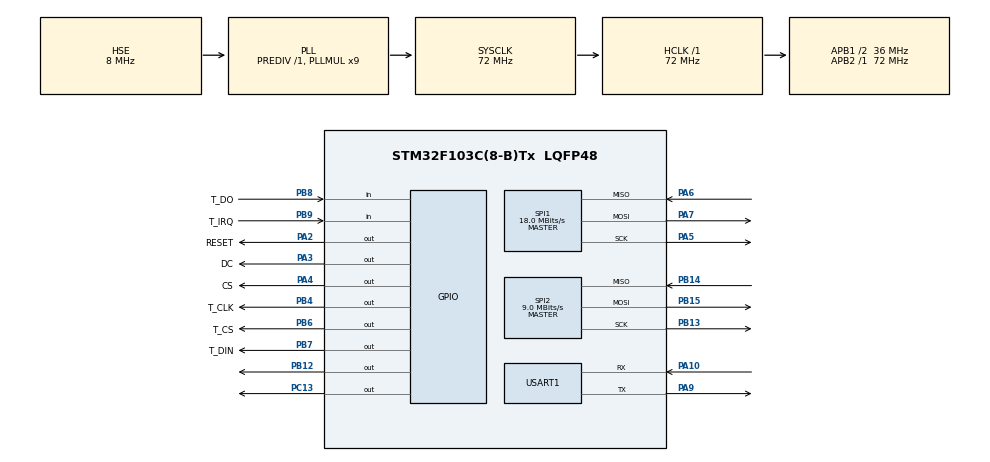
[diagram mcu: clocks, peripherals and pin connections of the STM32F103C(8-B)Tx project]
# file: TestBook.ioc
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FREERTOS.Tasks01=defaultTask,0,128,StartDefaultTask,Default,NULL,Dynamic,NULL,NULL;myTask02,-3,128,StartTask02,Default,NULL,Dynamic,NULL,NULL;myTask03,-3,128,StartTask03,Default,NULL,Dynamic,NULL,NULL
Mcu.Family=STM32F1
Mcu.Name=STM32F103C(8-B)Tx
Mcu.Package=LQFP48
NVIC.PriorityGroup=NVIC_PRIORITYGROUP_4
NVIC.SPI2_IRQn=true\:5\:0\:false\:false\:true\:true\:true\:true
NVIC.USART1_IRQn=true\:5\:0\:false\:false\:true\:true\:true\:true
PA10.Mode=Asynchronous
PA10.Signal=USART1_RX
PA13.Mode=Serial_Wire
PA13.Signal=SYS_JTMS-SWDIO
PA14.Mode=Serial_Wire
PA14.Signal=SYS_JTCK-SWCLK
PA2.GPIO_Label=RESET
PA2.GPIO_Speed=GPIO_SPEED_FREQ_HIGH
PA2.Signal=GPIO_Output
PA3.GPIO_Label=DC
PA3.GPIO_Speed=GPIO_SPEED_FREQ_HIGH
PA3.Signal=GPIO_Output
PA4.GPIO_Label=CS
PA4.GPIO_Speed=GPIO_SPEED_FREQ_HIGH
PA4.Signal=GPIO_Output
PA5.Mode=Full_Duplex_Master
PA5.Signal=SPI1_SCK
PA6.Mode=Full_Duplex_Master
PA6.Signal=SPI1_MISO
PA7.Mode=Full_Duplex_Master
PA7.Signal=SPI1_MOSI
PA9.Mode=Asynchronous
PA9.Signal=USART1_TX
PB12.Signal=GPIO_Output
PB13.Mode=Full_Duplex_Master
PB13.Signal=SPI2_SCK
PB14.Mode=Full_Duplex_Master
PB14.Signal=SPI2_MISO
PB15.Mode=Full_Duplex_Master
PB15.Signal=SPI2_MOSI
PB4.GPIO_Label=T_CLK
PB4.GPIO_Speed=GPIO_SPEED_FREQ_HIGH
PB4.Signal=GPIO_Output
PB6.GPIO_Label=T_CS
PB6.GPIO_Speed=GPIO_SPEED_FREQ_HIGH
PB6.Signal=GPIO_Output
PB7.GPIO_Label=T_DIN
PB7.GPIO_Speed=GPIO_SPEED_FREQ_HIGH
PB7.Signal=GPIO_Output
PB8.GPIO_Label=T_DO
PB8.Signal=GPIO_Input
PB9.GPIO_Label=T_IRQ
PB9.Signal=GPIO_Input
PC13-TAMPER-RTC.Signal=GPIO_Output
PD0-OSC_IN.Mode=HSE-External-Oscillator
PD0-OSC_IN.Signal=RCC_OSC_IN
PD1-OSC_OUT.Mode=HSE-External-Oscillator
PD1-OSC_OUT.Signal=RCC_OSC_OUT
ProjectManager.HeapSize=0x200
ProjectManager.StackSize=0x400
ProjectManager.TargetToolchain=MDK-ARM V5
RCC.AHBFreq_Value=72000000
RCC.APB1CLKDivider=RCC_HCLK_DIV2
RCC.APB1Freq_Value=36000000
RCC.APB1TimFreq_Value=72000000
RCC.APB2Freq_Value=72000000
RCC.APB2TimFreq_Value=72000000
RCC.HCLKFreq_Value=72000000
RCC.PLLMUL=RCC_PLL_MUL9
RCC.PLLSourceVirtual=RCC_PLLSOURCE_HSE
RCC.SYSCLKFreq_VALUE=72000000
RCC.SYSCLKSource=RCC_SYSCLKSOURCE_PLLCLK
RCC.USBFreq_Value=72000000
SPI1.BaudRatePrescaler=SPI_BAUDRATEPRESCALER_4
SPI1.CalculateBaudRate=18.0 MBits/s
SPI1.Direction=SPI_DIRECTION_2LINES
SPI1.Mode=SPI_MODE_MASTER
SPI1.VirtualType=VM_MASTER
SPI2.BaudRatePrescaler=SPI_BAUDRATEPRESCALER_4
SPI2.CalculateBaudRate=9.0 MBits/s
SPI2.Direction=SPI_DIRECTION_2LINES
SPI2.Mode=SPI_MODE_MASTER
SPI2.VirtualType=VM_MASTER
USART1.VirtualMode=VM_ASYNC
VP_FREERTOS_VS_CMSIS_V1.Mode=CMSIS_V1
board=custom

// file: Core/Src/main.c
/* USER CODE BEGIN Header */
/**
  ******************************************************************************
  * @file           : main.c
  * @brief          : Main program body
  ******************************************************************************
  * @attention
  *
  * <h2><center>&copy; Copyright (c) 2020 STMicroelectronics.
  * All rights reserved.</center></h2>
  *
  * This software component is licensed by ST under BSD 3-Clause license,
  * the "License"; You may not use this file except in compliance with the
  * License. You may obtain a copy of the License at:
  *                        opensource.org/licenses/BSD-3-Clause
  *
  ******************************************************************************
  */
/* USER CODE END Header */
#include "main.h"
#include "cmsis_os.h"

/* USER CODE BEGIN Includes */
#include "ILI9341_Driver.h"
#include "Touch.h"
#include "display.h"
#include "string.h"
#include "park_icons.h"
#include "rc522.h"

/* USER CODE END Includes */

/* USER CODE BEGIN PTD */
int state = 0 ;
uint16_t xtemp, ytemp;
char *select = {0};
int sel;
int sel_tmp;
int sel_chuyen;
int sel15,sel14,sel13,sel12,sel11=0;
int sel25,sel24,sel23,sel22,sel21=0;
int sel35,sel34,sel33,sel32,sel31=0;
int sel45,sel44,sel43,sel42,sel41=0;

/* USER CODE END PTD */

/* USER CODE BEGIN PD */

uint16_t xtemp, ytemp;

uint8_t 	k;
uint8_t 	i;
uint8_t 	j;
uint8_t 	b;
uint8_t 	q;
uint8_t 	en;
uint8_t		lastID[4];
uint8_t	 txBuffer[16] = "";
uint8_t	str[MFRC522_MAX_LEN];
uint8_t 	retstr[10];
//uint8_t 	rxBuffer[14792];
uint8_t 	rxBuffer[14792]; // max 14894
//uint8_t 	rxBuffer1[30000];
//unsigned char 	rxBuffer1[12800];

//int tt=0;
//int m =0;
//int n =0;
//int a;
//uint8_t Rx_data;
char *str2 = {0};
//unsigned char gImage_PicTest[57600];
/* USER CODE END PD */

SPI_HandleTypeDef hspi1;
SPI_HandleTypeDef hspi2;

UART_HandleTypeDef huart1;

osThreadId defaultTaskHandle;
osThreadId myTask02Handle;
osThreadId myTask03Handle;

void SystemClock_Config(void);
static void MX_GPIO_Init(void);
static void MX_SPI1_Init(void);
static void MX_SPI2_Init(void);
static void MX_USART1_UART_Init(void);
void StartDefaultTask(void const * argument);
void StartTask02(void const * argument);
void StartTask03(void const * argument);

/* USER CODE BEGIN PFP */
void HAL_UART_RxCpltCallback(UART_HandleTypeDef *huart)
{
	HAL_UART_Receive_IT(&huart1,(uint8_t*)rxBuffer, 14792);
//	a = (char)rxBuffer[14791];
//	HAL_GPIO_WritePin(GPIOC,GPIO_PIN_13,GPIO_PIN_SET);
	if (rxBuffer[0] == 2 && rxBuffer[1] == 2 && rxBuffer[2] == 2 && rxBuffer[3] == 2 && rxBuffer[4] == 2)
	{
		// cho phep cam ung
		state=2;
	}else if (rxBuffer[0] == 0 && rxBuffer[1] == 0 && rxBuffer[2] == 0 && rxBuffer[3] == 0 && rxBuffer[4] == 0){
		// tat cam ung
		state=0;
	}else if (rxBuffer[0] == 3 && rxBuffer[1] == 3 && rxBuffer[2] == 3 && rxBuffer[3] == 3 && rxBuffer[4] == 3){
		// kiem tra va hien cho da co xe
		sel11 = rxBuffer[5];
		sel12 = rxBuffer[6];
		sel13 = rxBuffer[7];
		sel14 = rxBuffer[8];
		sel15 = rxBuffer[9];

		sel21 = rxBuffer[10];
		sel22 = rxBuffer[11];
		sel23 = rxBuffer[12];
		sel24 = rxBuffer[13];
		sel25 = rxBuffer[14];

		sel31 = rxBuffer[15];
		sel32 = rxBuffer[16];
		sel33 = rxBuffer[17];
		sel34 = rxBuffer[18];
		sel35 = rxBuffer[19];

		sel41 = rxBuffer[20];
		sel42 = rxBuffer[21];
		sel43 = rxBuffer[22];
		sel44 = rxBuffer[23];
		sel45 = rxBuffer[24];

		state=3;

	}else{
		// cho hien hinh mat
		state=1;
	}
}
/* USER CODE END PFP */

/* USER CODE BEGIN 0 */
void HienThiCho(){

			if(sel15==15){
				Display_Round_Icon_20x20(park_icon_20x20, 235, 55, 20);
			} else	Display_Round_Icon_20x20(unpark1_icon_20x20, 235, 55, 20);

			if(sel14==14){
				Display_Round_Icon_20x20(park_icon_20x20, 185, 55, 20);
			} else	Display_Round_Icon_20x20(unpark1_icon_20x20, 185, 55, 20);

			if(sel13==13){
				Display_Round_Icon_20x20(park_icon_20x20, 135, 55, 20);
			} else Display_Round_Icon_20x20(unpark1_icon_20x20, 185, 55, 20);

			if(sel12==12){
				Display_Round_Icon_20x20(park_icon_20x20, 85, 55, 20);
			} else Display_Round_Icon_20x20(unpark1_icon_20x20, 85, 55, 20);

			if(sel11==11){
				Display_Round_Icon_20x20(park_icon_20x20, 35, 55, 20);
			} else Display_Round_Icon_20x20(unpark1_icon_20x20, 85, 55, 20);

		/*#######################################################################*/
			if(sel25==25){
				Display_Round_Icon_20x20(park_icon_20x20, 235, 105, 20);
			} else Display_Round_Icon_20x20(unpark1_icon_20x20, 235, 105, 20);

			if(sel24==24){
				Display_Round_Icon_20x20(park_icon_20x20, 185, 105, 20);
			} else Display_Round_Icon_20x20(unpark1_icon_20x20, 185, 105, 20);

			if(sel23==23){
				Display_Round_Icon_20x20(park_icon_20x20, 135, 105, 20);
			} else Display_Round_Icon_20x20(unpark1_icon_20x20, 135, 105, 20);

			if(sel22==22){
				Display_Round_Icon_20x20(park_icon_20x20, 85, 105, 20);
			} else Display_Round_Icon_20x20(unpark1_icon_20x20, 85, 105, 20);

			if(sel21==21){
				Display_Round_Icon_20x20(park_icon_20x20, 35, 105, 20);
			} else Display_Round_Icon_20x20(unpark1_icon_20x20, 35, 105, 20);

		/*################################################################*/
			if(sel35==35){
				Display_Round_Icon_20x20(park_icon_20x20, 235, 155, 20);
			} else Display_Round_Icon_20x20(unpark1_icon_20x20, 235, 155, 20);

			if(sel34==34){
				Display_Round_Icon_20x20(park_icon_20x20, 185, 155, 20);
			} else Display_Round_Icon_20x20(unpark1_icon_20x20, 185, 155, 20);

			if(sel33==33){
				Display_Round_Icon_20x20(park_icon_20x20, 135, 155, 20);
			} else Display_Round_Icon_20x20(unpark1_icon_20x20, 135, 155, 20);

			if(sel32==32){
				Display_Round_Icon_20x20(park_icon_20x20, 85, 155, 20);
			} else Display_Round_Icon_20x20(unpark1_icon_20x20, 85, 155, 20);

			if(sel31==31){
				Display_Round_Icon_20x20(park_icon_20x20, 35, 155, 20);
			} else Display_Round_Icon_20x20(unpark1_icon_20x20, 35, 155, 20);

		/*################################################################*/
			if(sel45==45){
				Display_Round_Icon_20x20(park_icon_20x20, 235, 205, 20);
			} else Display_Round_Icon_20x20(unpark1_icon_20x20, 235, 205, 20);

			if(sel44==44){
				Display_Round_Icon_20x20(park_icon_20x20, 185, 205, 20);
			} else Display_Round_Icon_20x20(unpark1_icon_20x20, 185, 205, 20);

			if(sel43==43){
				Display_Round_Icon_20x20(park_icon_20x20, 135, 205, 20);
			} else Display_Round_Icon_20x20(unpark1_icon_20x20, 135, 205, 20);

			if(sel42==42){
				Display_Round_Icon_20x20(park_icon_20x20, 85, 205, 20);
			} else Display_Round_Icon_20x20(unpark1_icon_20x20, 85, 205, 20);

			if(sel41==41){
				Display_Round_Icon_20x20(park_icon_20x20, 35, 205, 20);
			} else Display_Round_Icon_20x20(unpark1_icon_20x20, 35, 205, 20);
}
void ChonCho(int sel){

	switch(sel){
		case 15: str2 = "15";HAL_UART_Transmit(&huart1, (uint8_t*)str2, 2, 100);;break;
		case 14: str2 = "14";HAL_UART_Transmit(&huart1, (uint8_t*)str2, 2, 100);;break;
		case 13: str2 = "13";HAL_UART_Transmit(&huart1, (uint8_t*)str2, 2, 100);;break;
		case 12: str2 = "12";HAL_UART_Transmit(&huart1, (uint8_t*)str2, 2, 100);;break;
		case 11: str2 = "11";HAL_UART_Transmit(&huart1, (uint8_t*)str2, 2, 100);;break;

		case 25: str2 = "25";HAL_UART_Transmit(&huart1, (uint8_t*)str2, 2, 100);;break;
		case 24: str2 = "24";HAL_UART_Transmit(&huart1, (uint8_t*)str2, 2, 100);;break;
		case 23: str2 = "23";HAL_UART_Transmit(&huart1, (uint8_t*)str2, 2, 100);;break;
		case 22: str2 = "22";HAL_UART_Transmit(&huart1, (uint8_t*)str2, 2, 100);;break;
		case 21: str2 = "21";HAL_UART_Transmit(&huart1, (uint8_t*)str2, 2, 100);;break;

		case 35: str2 = "35";HAL_UART_Transmit(&huart1, (uint8_t*)str2, 2, 100);;break;
		case 34: str2 = "34";HAL_UART_Transmit(&huart1, (uint8_t*)str2, 2, 100);;break;
		case 33: str2 = "33";HAL_UART_Transmit(&huart1, (uint8_t*)str2, 2, 100);;break;
		case 32: str2 = "32";HAL_UART_Transmit(&huart1, (uint8_t*)str2, 2, 100);;break;
		case 31: str2 = "31";HAL_UART_Transmit(&huart1, (uint8_t*)str2, 2, 100);;break;

		case 45: str2 = "45";HAL_UART_Transmit(&huart1, (uint8_t*)str2, 2, 100);;break;
		case 44: str2 = "44";HAL_UART_Transmit(&huart1, (uint8_t*)str2, 2, 100);;break;
		case 43: str2 = "43";HAL_UART_Transmit(&huart1, (uint8_t*)str2, 2, 100);;break;
		case 42: str2 = "42";HAL_UART_Transmit(&huart1, (uint8_t*)str2, 2, 100);;break;
		case 41: str2 = "41";HAL_UART_Transmit(&huart1, (uint8_t*)str2, 2, 100);;break;
	}
}

void char_to_hex(uint8_t data) {
	uint8_t digits[] = {'0','1','2','3','4','5','6','7','8','9','A','B','C','D','E','F'};

	if (data < 16) {
		retstr[0] = '0';
		retstr[1] = digits[data];
	} else {
		retstr[0] = digits[(data & 0xF0)>>4];
		retstr[1] = digits[(data & 0x0F)];
	}
}
/* USER CODE END 0 */

int main(void)
{

  /* MCU Configuration--------------------------------------------------------*/

  /* Reset of all peripherals, Initializes the Flash interface and the Systick. */
  HAL_Init();

  /* Configure the system clock */
  SystemClock_Config();

  /* Initialize all configured peripherals */
  MX_GPIO_Init();
  MX_SPI1_Init();
  MX_SPI2_Init();
  MX_USART1_UART_Init();
  /* USER CODE BEGIN 2 */

	ILI9341_Init();
  ILI9341_Set_Rotation(1);
	ILI9341_Fill_Screen(BLACK);
	MFRC522_Init();

//	Display_Color_Picture();
//	ILI9341_Draw_String(50, 205, BLACK, WHITE, "Xe vao!", 2);
//	Display_Color_Picture1();
//	ILI9341_Draw_String(220, 205, BLACK, WHITE, "Xe ra!", 2);

	//ILI9341_Fill_Screen(BLACK);
  //Display_Menu();
	//ILI9341_Set_Rotation(3);
	//Display_Color_Picture();
	//Display_Color_Picture1();
	//ILI9341_Set_Rotation(3);
	ILI9341_Fill_Screen1(BLACK);
	Display_Menu();

  TP_Init();
  /* USER CODE END 2 */

  /* Create the thread(s) */
  /* definition and creation of defaultTask */
  osThreadDef(defaultTask, StartDefaultTask, osPriorityNormal, 0, 128);
  defaultTaskHandle = osThreadCreate(osThread(defaultTask), NULL);

  /* definition and creation of myTask02 */
  osThreadDef(myTask02, StartTask02, osPriorityIdle, 0, 128);
  myTask02Handle = osThreadCreate(osThread(myTask02), NULL);

  /* definition and creation of myTask03 */
  osThreadDef(myTask03, StartTask03, osPriorityIdle, 0, 128);
  myTask03Handle = osThreadCreate(osThread(myTask03), NULL);

  /* Start scheduler */
  osKernelStart();

  /* We should never get here as control is now taken by the scheduler */
  /* Infinite loop */
  while (1)
  {

    /* USER CODE BEGIN 3 */
//		if(state==1){
//			ILI9341_Fill_Screen1(BLACK);
//			Display_Color_Picture();
//			HAL_Delay(500);
//			ILI9341_Fill_Screen1(BLACK);
//			state=0;
//		}

  }
  /* USER CODE END 3 */
}

void SystemClock_Config(void)
{
  RCC_OscInitTypeDef RCC_OscInitStruct = {0};
  RCC_ClkInitTypeDef RCC_ClkInitStruct = {0};

  /** Initializes the RCC Oscillators according to the specified parameters
  * in the RCC_OscInitTypeDef structure.
  */
  RCC_OscInitStruct.OscillatorType = RCC_OSCILLATORTYPE_HSE;
  RCC_OscInitStruct.HSEState = RCC_HSE_ON;
  RCC_OscInitStruct.HSEPredivValue = RCC_HSE_PREDIV_DIV1;
  RCC_OscInitStruct.HSIState = RCC_HSI_ON;
  RCC_OscInitStruct.PLL.PLLState = RCC_PLL_ON;
  RCC_OscInitStruct.PLL.PLLSource = RCC_PLLSOURCE_HSE;
  RCC_OscInitStruct.PLL.PLLMUL = RCC_PLL_MUL9;
  if (HAL_RCC_OscConfig(&RCC_OscInitStruct) != HAL_OK)
  {
    Error_Handler();
  }
  /** Initializes the CPU, AHB and APB buses clocks
  */
  RCC_ClkInitStruct.ClockType = RCC_CLOCKTYPE_HCLK|RCC_CLOCKTYPE_SYSCLK
                              |RCC_CLOCKTYPE_PCLK1|RCC_CLOCKTYPE_PCLK2;
  RCC_ClkInitStruct.SYSCLKSource = RCC_SYSCLKSOURCE_PLLCLK;
  RCC_ClkInitStruct.AHBCLKDivider = RCC_SYSCLK_DIV1;
  RCC_ClkInitStruct.APB1CLKDivider = RCC_HCLK_DIV2;
  RCC_ClkInitStruct.APB2CLKDivider = RCC_HCLK_DIV1;

  if (HAL_RCC_ClockConfig(&RCC_ClkInitStruct, FLASH_LATENCY_2) != HAL_OK)
  {
    Error_Handler();
  }
}

static void MX_SPI1_Init(void)
{

  /* SPI1 parameter configuration*/
  hspi1.Instance = SPI1;
  hspi1.Init.Mode = SPI_MODE_MASTER;
  hspi1.Init.Direction = SPI_DIRECTION_2LINES;
  hspi1.Init.DataSize = SPI_DATASIZE_8BIT;
  hspi1.Init.CLKPolarity = SPI_POLARITY_LOW;
  hspi1.Init.CLKPhase = SPI_PHASE_1EDGE;
  hspi1.Init.NSS = SPI_NSS_SOFT;
  hspi1.Init.BaudRatePrescaler = SPI_BAUDRATEPRESCALER_4;
  hspi1.Init.FirstBit = SPI_FIRSTBIT_MSB;
  hspi1.Init.TIMode = SPI_TIMODE_DISABLE;
  hspi1.Init.CRCCalculation = SPI_CRCCALCULATION_DISABLE;
  hspi1.Init.CRCPolynomial = 10;
  if (HAL_SPI_Init(&hspi1) != HAL_OK)
  {
    Error_Handler();
  }

}

static void MX_SPI2_Init(void)
{

  /* SPI2 parameter configuration*/
  hspi2.Instance = SPI2;
  hspi2.Init.Mode = SPI_MODE_MASTER;
  hspi2.Init.Direction = SPI_DIRECTION_2LINES;
  hspi2.Init.DataSize = SPI_DATASIZE_8BIT;
  hspi2.Init.CLKPolarity = SPI_POLARITY_LOW;
  hspi2.Init.CLKPhase = SPI_PHASE_1EDGE;
  hspi2.Init.NSS = SPI_NSS_SOFT;
  hspi2.Init.BaudRatePrescaler = SPI_BAUDRATEPRESCALER_4;
  hspi2.Init.FirstBit = SPI_FIRSTBIT_MSB;
  hspi2.Init.TIMode = SPI_TIMODE_DISABLE;
  hspi2.Init.CRCCalculation = SPI_CRCCALCULATION_DISABLE;
  hspi2.Init.CRCPolynomial = 10;
  if (HAL_SPI_Init(&hspi2) != HAL_OK)
  {
    Error_Handler();
  }

}

static void MX_USART1_UART_Init(void)
{

  huart1.Instance = USART1;
  huart1.Init.BaudRate = 115200;
  huart1.Init.WordLength = UART_WORDLENGTH_8B;
  huart1.Init.StopBits = UART_STOPBITS_1;
  huart1.Init.Parity = UART_PARITY_NONE;
  huart1.Init.Mode = UART_MODE_TX_RX;
  huart1.Init.HwFlowCtl = UART_HWCONTROL_NONE;
  huart1.Init.OverSampling = UART_OVERSAMPLING_16;
  if (HAL_UART_Init(&huart1) != HAL_OK)
  {
    Error_Handler();
  }

}

static void MX_GPIO_Init(void)
{
  GPIO_InitTypeDef GPIO_InitStruct = {0};

  /* GPIO Ports Clock Enable */
  __HAL_RCC_GPIOC_CLK_ENABLE();
  __HAL_RCC_GPIOD_CLK_ENABLE();
  __HAL_RCC_GPIOA_CLK_ENABLE();
  __HAL_RCC_GPIOB_CLK_ENABLE();

  /*Configure GPIO pin Output Level */
  HAL_GPIO_WritePin(GPIOC, GPIO_PIN_13, GPIO_PIN_RESET);

  /*Configure GPIO pin Output Level */
  HAL_GPIO_WritePin(GPIOA, RESET_Pin|DC_Pin|CS_Pin, GPIO_PIN_RESET);

  /*Configure GPIO pin Output Level */
  HAL_GPIO_WritePin(GPIOB, GPIO_PIN_12|T_CLK_Pin|T_CS_Pin|T_DIN_Pin, GPIO_PIN_RESET);

  /*Configure GPIO pin : PC13 */
  GPIO_InitStruct.Pin = GPIO_PIN_13;
  GPIO_InitStruct.Mode = GPIO_MODE_OUTPUT_PP;
  GPIO_InitStruct.Pull = GPIO_NOPULL;
  GPIO_InitStruct.Speed = GPIO_SPEED_FREQ_LOW;
  HAL_GPIO_Init(GPIOC, &GPIO_InitStruct);

  /*Configure GPIO pins : RESET_Pin DC_Pin CS_Pin */
  GPIO_InitStruct.Pin = RESET_Pin|DC_Pin|CS_Pin;
  GPIO_InitStruct.Mode = GPIO_MODE_OUTPUT_PP;
  GPIO_InitStruct.Pull = GPIO_NOPULL;
  GPIO_InitStruct.Speed = GPIO_SPEED_FREQ_HIGH;
  HAL_GPIO_Init(GPIOA, &GPIO_InitStruct);

  /*Configure GPIO pin : PB12 */
  GPIO_InitStruct.Pin = GPIO_PIN_12;
  GPIO_InitStruct.Mode = GPIO_MODE_OUTPUT_PP;
  GPIO_InitStruct.Pull = GPIO_NOPULL;
  GPIO_InitStruct.Speed = GPIO_SPEED_FREQ_LOW;
  HAL_GPIO_Init(GPIOB, &GPIO_InitStruct);

  /*Configure GPIO pins : T_CLK_Pin T_CS_Pin T_DIN_Pin */
  GPIO_InitStruct.Pin = T_CLK_Pin|T_CS_Pin|T_DIN_Pin;
  GPIO_InitStruct.Mode = GPIO_MODE_OUTPUT_PP;
  GPIO_InitStruct.Pull = GPIO_NOPULL;
  GPIO_InitStruct.Speed = GPIO_SPEED_FREQ_HIGH;
  HAL_GPIO_Init(GPIOB, &GPIO_InitStruct);

  /*Configure GPIO pins : T_DO_Pin T_IRQ_Pin */
  GPIO_InitStruct.Pin = T_DO_Pin|T_IRQ_Pin;
  GPIO_InitStruct.Mode = GPIO_MODE_INPUT;
  GPIO_InitStruct.Pull = GPIO_NOPULL;
  HAL_GPIO_Init(GPIOB, &GPIO_InitStruct);

}

void StartDefaultTask(void const * argument)
{
  /* USER CODE BEGIN 5 */
  /* Infinite loop */
	//HAL_UART_Receive_IT(&huart1,(uint8_t*)rxBuffer, 1);
  for(;;)
  {
		if(state == 2){

			tp_dev.scan(0);
			if(tp_dev.sta & TP_PRES_DOWN)
			{
				xtemp = TP_Read_XOY(0xD0);
				ytemp = TP_Read_XOY(0x90);

				//Sau khi chon dung' thi se~ gui uart den python de chup, tu python se gui anh ve`
				if(xtemp > 700 && xtemp < 1400 && ytemp > 2600 && ytemp < 3100) {
					Display_Round_Icon_20x20(park_icon_20x20, 235, 55, 20);
					sel=15;
					ChonCho(sel);
				}
				if(xtemp > 700 && xtemp < 1400 && ytemp > 2000 && ytemp < 2500) {
					Display_Round_Icon_20x20(park_icon_20x20, 185, 55, 20);
					sel=14;
					ChonCho(sel);
				}
				if(xtemp > 700 && xtemp < 1400 && ytemp > 1400 && ytemp < 1900) {
					Display_Round_Icon_20x20(park_icon_20x20, 135, 55, 20);
					sel=13;
					ChonCho(sel);
				}
				if(xtemp > 700 && xtemp < 1400 && ytemp > 800 && ytemp < 1300) {
					Display_Round_Icon_20x20(park_icon_20x20, 85, 55, 20);
					sel=12;
					ChonCho(sel);
				}
				if(xtemp > 700 && xtemp < 1400 && ytemp > 200 && ytemp < 700) {
					Display_Round_Icon_20x20(park_icon_20x20, 35, 55, 20);
					sel=11;
					ChonCho(sel);
				}
	/*################################################################################*/

				if(xtemp > 1500 && xtemp < 2200 && ytemp > 2600 && ytemp < 3100) {
					Display_Round_Icon_20x20(park_icon_20x20, 235, 105, 20);
					sel=25;
					ChonCho(sel);
				}
				if(xtemp > 1500 && xtemp < 2200 && ytemp > 2000 && ytemp < 2500) {
					Display_Round_Icon_20x20(park_icon_20x20, 185, 105, 20);
					sel=24;
					ChonCho(sel);
				}
				if(xtemp > 1500 && xtemp < 2200 && ytemp > 1400 && ytemp < 1900) {
					Display_Round_Icon_20x20(park_icon_20x20, 135, 105, 20);
					sel=23;
					ChonCho(sel);
				}
				if(xtemp > 1500 && xtemp < 2200 && ytemp > 800 && ytemp < 1300) {
					Display_Round_Icon_20x20(park_icon_20x20, 85, 105, 20);
					sel=22;
					ChonCho(sel);
				}
				if(xtemp > 1500 && xtemp < 2200 && ytemp > 200 && ytemp < 700) {
					Display_Round_Icon_20x20(park_icon_20x20, 35, 105, 20);
					sel=21;
					ChonCho(sel);
				}
	/*################################################################################*/

				if(xtemp > 2300 && xtemp < 3000 && ytemp > 2600 && ytemp < 3100) {
					Display_Round_Icon_20x20(park_icon_20x20, 235, 155, 20);
					sel=35;
					ChonCho(sel);
				}
				if(xtemp > 2300 && xtemp < 3000 && ytemp > 2000 && ytemp < 2500) {
					Display_Round_Icon_20x20(park_icon_20x20, 185, 155, 20);
					sel=34;
					ChonCho(sel);
				}
				if(xtemp > 2300 && xtemp < 3000 && ytemp > 1400 && ytemp < 1900) {
					Display_Round_Icon_20x20(park_icon_20x20, 135, 155, 20);
					sel=33;
					ChonCho(sel);
				}
				if(xtemp > 2300 && xtemp < 3000 && ytemp > 800 && ytemp < 1300) {
					Display_Round_Icon_20x20(park_icon_20x20, 85, 155, 20);
					sel=32;
					ChonCho(sel);
				}
				if(xtemp > 2300 && xtemp < 3000 && ytemp > 200 && ytemp < 700) {
					Display_Round_Icon_20x20(park_icon_20x20, 35, 155, 20);
					sel=31;
					ChonCho(sel);
				}
	/*################################################################################*/

				if(xtemp > 3100 && xtemp < 3800 && ytemp > 2600 && ytemp < 3100) {
					Display_Round_Icon_20x20(park_icon_20x20, 235, 205, 20);
					sel=45;
					ChonCho(sel);
				}
				if(xtemp > 3100 && xtemp < 3800 && ytemp > 2000 && ytemp < 2500) {
					Display_Round_Icon_20x20(park_icon_20x20, 185, 205, 20);
					sel=44;
					ChonCho(sel);
				}
				if(xtemp > 3100 && xtemp < 3800 && ytemp > 1400 && ytemp < 1900) {
					Display_Round_Icon_20x20(park_icon_20x20, 135, 205, 20);
					sel=43;
					ChonCho(sel);

				}
				if(xtemp > 3100 && xtemp < 3800 && ytemp > 800 && ytemp < 1300) {
					Display_Round_Icon_20x20(park_icon_20x20, 85, 205, 20);
					sel=42;
					ChonCho(sel);
				}
				if(xtemp > 3100 && xtemp < 3800 && ytemp > 200 && ytemp < 700) {
					Display_Round_Icon_20x20(park_icon_20x20, 35, 205, 20);
					sel=41;
					ChonCho(sel);
				}
			}
		}

		if(state==1){
			ILI9341_Fill_Screen1(BLACK);
			//Display_Color_Picture();
			for (uint16_t i = 0; i < 86; i++)
			{
				for (uint16_t j = 0; j < 86; j++)
				{
					ILI9341_Draw_Double_Pixel(j+117, i+77, rxBuffer[(172 * i) + j * 2], rxBuffer[(172 * i) + j * 2 + 1]);
				}
			}

			osDelay(1000);
			ILI9341_Fill_Screen1(BLACK);
			Display_Menu();
			HienThiCho();
		}

		if(state==3){
//			ILI9341_Fill_Screen1(BLACK);
//			Display_Menu();
			HienThiCho();
		/*################################################################*/
			//state=0;
		}

		if(state==0){
//			ILI9341_Fill_Screen1(BLACK);
//			Display_Menu();

		/*################################################################*/
			//state=0;
		}

    osDelay(1);
  }
  /* USER CODE END 5 */
}

void StartTask02(void const * argument)
{
  /* USER CODE BEGIN StartTask02 */
	//int iii;
	HAL_UART_Receive_IT(&huart1,(uint8_t*)rxBuffer, 14792);
	HAL_GPIO_WritePin(GPIOC,GPIO_PIN_13,GPIO_PIN_SET);
  /* Infinite loop */
  for(;;)
  {
//		i++;
//		if(tt==1){
//			__HAL_TIM_SetCompare(&htim2, TIM_CHANNEL_1, 250);
//			HAL_GPIO_WritePin(GPIOC,GPIO_PIN_13,GPIO_PIN_RESET);
//			osDelay(5000);
//			tt=0;
//		}
//		else{
//			HAL_GPIO_WritePin(GPIOC,GPIO_PIN_13,GPIO_PIN_SET);
//			__HAL_TIM_SetCompare(&htim2, TIM_CHANNEL_1, 650	);
//		}
		if (!MFRC522_Request(PICC_REQIDL, str))
		{
			if (!MFRC522_Anticoll(str))
			{
			//HAL_ResumeTick();
				j = 0;
				q = 0;
				b = 8;
				en = 1;

				for (i=0; i<4; i++) if (lastID[i] != str[i]) j = 1;

				if (j && en) {
					q = 0;
					en = 0;
					for (i=0; i<4; i++) lastID[i] = str[i];

					for (i=0; i<4; i++) {
						char_to_hex(str[i]);

						txBuffer[b] = retstr[0];
						b++;
						txBuffer[b] = retstr[1];
						b++;
					}

					//while(!MFRC522_Anticoll(str));
					HAL_UART_Transmit(&huart1, txBuffer, 16, 100);
					HAL_GPIO_TogglePin(GPIOC,GPIO_PIN_13);

				}
			}
		}
		q = q + 200;
		if (!q) {
			en = 1;																															// Delay against scan kode
			for (i=0; i<4; i++) lastID[i] = 0;
		}
		//HAL_GPIO_TogglePin(GPIOC,GPIO_PIN_13);
		osDelay(100);
//    osDelay(100);
  }
  /* USER CODE END StartTask02 */
}

void StartTask03(void const * argument)
{
  /* USER CODE BEGIN StartTask03 */
  /* Infinite loop */
  for(;;)
  {
    osDelay(100);
  }
  /* USER CODE END StartTask03 */
}

void Error_Handler(void)
{
  __disable_irq();
  while (1)
  {
  }
}

/************************ (C) COPYRIGHT STMicroelectronics *****END OF FILE****/
